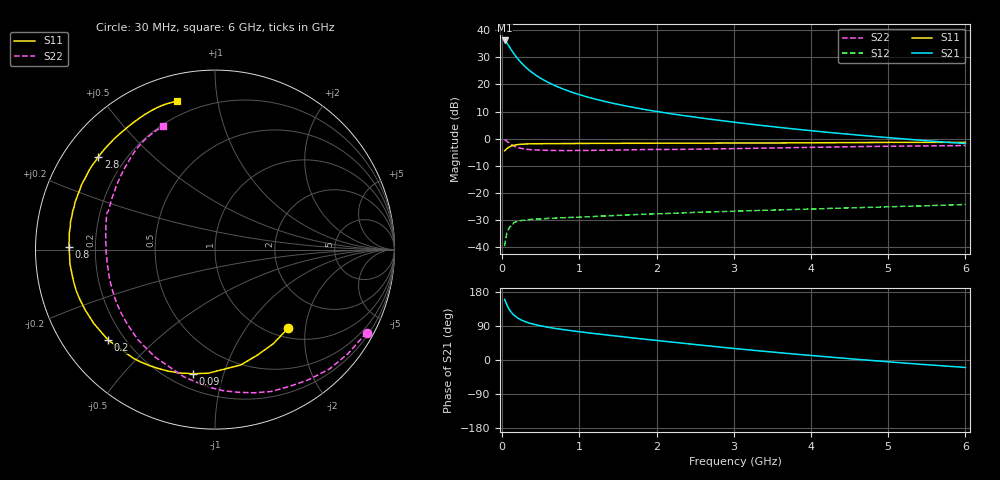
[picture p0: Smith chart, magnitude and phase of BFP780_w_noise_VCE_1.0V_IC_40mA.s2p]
! (c) 2015  Infineon Technologies AG, Munich
! Infineon Technologies  Discrete & RF Semiconductors
! BFP780
! VCE =  1.0 V,  IC =  40 mA
! Common Emitter S-Parameters:  Jul 2015
# GHz  S  MA  R  50
!  f  S11  S21  S12  S22
! GHz  MAG  ANG  MAG  ANG  MAG  ANG  MAG  ANG
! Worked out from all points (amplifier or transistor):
!   75 points, 30 MHz to 6 GHz, reference 50 ohm
!   highest |S21| = 36.2 dB at 30 MHz (marker M1)
!   |S21| within 3 dB of that: start of sweep to 106.3 MHz
!   unconditionally stable (mu >= 1): 2.095 GHz to end of sweep
!   at 150 MHz: K = 0.12, MSG = 31.1 dB, |S12| = -30.9 dB
!   at 2.3 GHz: K = 1.07, MAG = 16.5 dB, |S12| = -27.4 dB
!   at 6 GHz: K = 1.59, MAG = 6.7 dB, |S12| = -24.2 dB
!   lowest NFmin = 1.24 dB at 450 MHz
!   S11 on the Smith chart (normalised r, x): 30 MHz: 1.18, -1.61; 90 MHz: 0.29, -0.79; 200 MHz: 0.14, -0.36; 800 MHz: 0.10, +0.01; 2.8 GHz: 0.10, +0.35; 6 GHz: 0.13, +0.77
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0.03  0.5983 -47.2  64.32 160.2  0.0105 72.0  0.9628 -28.7
0.05  0.6335 -68.1  60.28 149.9  0.0154 65.8  0.9213 -46.3
0.06  0.6585 -77.4  57.86 145.5  0.0186 57.5  0.8924 -54.4
0.08  0.6898 -93.2  52.4 137.3  0.0214 52.3  0.8499 -68.5
0.09  0.7023 -100.1  49.61 133.7  0.0227 48.0  0.8263 -74.9
0.11  0.7257 -111.1  44.66 127.6  0.0245 41.8  0.7888 -86.3
0.14  0.7508 -123.6  38.57 120.6  0.0271 35.8  0.7394 -100.0
0.2  0.7801 -139.8  29.62 110.8  0.0299 28.0  0.6851 -119.5
0.25  0.7905 -148.5  24.62 105.2  0.0312 23.7  0.6603 -130.7
0.3  0.7976 -155.0  20.89 100.9  0.0317 21.1  0.6419 -139.2
0.4  0.8064 -163.7  15.97 94.7  0.0329 18.5  0.6243 -150.9
0.5  0.8081 -169.8  12.88 90.0  0.0334 16.0  0.6141 -158.9
0.6  0.8121 -174.3  10.77 86.2  0.0341 15.4  0.6099 -164.7
0.8  0.8147 178.9  8.088 80.0  0.035 13.9  0.6057 -173.1
1.1  0.816 171.1  5.863 72.0  0.0365 14.2  0.6074 178.1
1.5  0.8204 163.1  4.28 62.7  0.0388 14.5  0.6173 169.8
2.1  0.8262 152.7  3.007 49.4  0.0418 13.5  0.6317 160.0
2.8  0.8304 141.5  2.187 34.6  0.0453 12.5  0.6492 149.1
3.1  0.8323 137.0  1.936 28.6  0.0467 11.6  0.6596 144.7
4.1  0.8405 123.2  1.361 10.2  0.051 8.9  0.6954 132.3
5.1  0.8545 112.2  1.018 -6.3  0.0562 5.8  0.7277 121.8
6  0.854 104.4  0.815 -19.7  0.0616 2.1  0.7473 112.6
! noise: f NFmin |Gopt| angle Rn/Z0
0.45  1.24  0.39  -178  0.07
0.9  1.28  0.4  -174  0.08
1.5  1.35  0.43  -169  0.07
1.8  1.52  0.45  -159  0.08
2.4  1.67  0.47  -152  0.11
3  1.94  0.49  -149  0.15
3.5  2.45  0.56  -132  0.24
